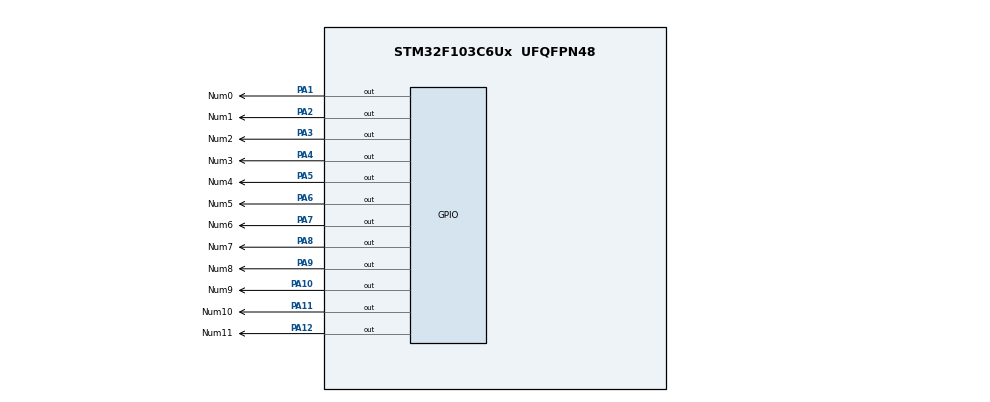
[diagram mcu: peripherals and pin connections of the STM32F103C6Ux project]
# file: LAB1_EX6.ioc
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Mcu.Family=STM32F1
Mcu.Name=STM32F103C6Ux
Mcu.Package=UFQFPN48
NVIC.PriorityGroup=NVIC_PRIORITYGROUP_4
PA1.GPIO_Label=Num0
PA1.Signal=GPIO_Output
PA10.GPIO_Label=Num9
PA10.Signal=GPIO_Output
PA11.GPIO_Label=Num10
PA11.Signal=GPIO_Output
PA12.GPIO_Label=Num11
PA12.Signal=GPIO_Output
PA2.GPIO_Label=Num1
PA2.Signal=GPIO_Output
PA3.GPIO_Label=Num2
PA3.Signal=GPIO_Output
PA4.GPIO_Label=Num3
PA4.Signal=GPIO_Output
PA5.GPIO_Label=Num4
PA5.Signal=GPIO_Output
PA6.GPIO_Label=Num5
PA6.Signal=GPIO_Output
PA7.GPIO_Label=Num6
PA7.Signal=GPIO_Output
PA8.GPIO_Label=Num7
PA8.Signal=GPIO_Output
PA9.GPIO_Label=Num8
PA9.Signal=GPIO_Output
ProjectManager.HeapSize=0x200
ProjectManager.StackSize=0x400
ProjectManager.TargetToolchain=STM32CubeIDE
RCC.APB1Freq_Value=8000000
RCC.APB2Freq_Value=8000000
VP_SYS_VS_ND.Mode=No_Debug
board=custom

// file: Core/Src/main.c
/* USER CODE BEGIN Header */
/**
  ******************************************************************************
  * @file           : main.c
  * @brief          : Main program body
  ******************************************************************************
  * @attention
  *
  * <h2><center>&copy; Copyright (c) 2025 STMicroelectronics.
  * All rights reserved.</center></h2>
  *
  * This software component is licensed by ST under BSD 3-Clause license,
  * the "License"; You may not use this file except in compliance with the
  * License. You may obtain a copy of the License at:
  *                        opensource.org/licenses/BSD-3-Clause
  *
  ******************************************************************************
  */
/* USER CODE END Header */
#include "main.h"

void SystemClock_Config(void);
static void MX_GPIO_Init(void);

/* USER CODE BEGIN 0 */
void display(int num) {
    switch (num) {
        case 0:  HAL_GPIO_WritePin(Num0_GPIO_Port, Num0_Pin, GPIO_PIN_SET); break;
        case 1:  HAL_GPIO_WritePin(Num1_GPIO_Port, Num1_Pin, GPIO_PIN_SET); break;
        case 2:  HAL_GPIO_WritePin(Num2_GPIO_Port, Num2_Pin, GPIO_PIN_SET); break;
        case 3:  HAL_GPIO_WritePin(Num3_GPIO_Port, Num3_Pin, GPIO_PIN_SET); break;
        case 4:  HAL_GPIO_WritePin(Num4_GPIO_Port, Num4_Pin, GPIO_PIN_SET); break;
        case 5:  HAL_GPIO_WritePin(Num5_GPIO_Port, Num5_Pin, GPIO_PIN_SET); break;
        case 6:  HAL_GPIO_WritePin(Num6_GPIO_Port, Num6_Pin, GPIO_PIN_SET); break;
        case 7:  HAL_GPIO_WritePin(Num7_GPIO_Port, Num7_Pin, GPIO_PIN_SET); break;
        case 8:  HAL_GPIO_WritePin(Num8_GPIO_Port, Num8_Pin, GPIO_PIN_SET); break;
        case 9:  HAL_GPIO_WritePin(Num9_GPIO_Port, Num9_Pin, GPIO_PIN_SET); break;
        case 10: HAL_GPIO_WritePin(Num10_GPIO_Port, Num10_Pin, GPIO_PIN_SET); break;
        case 11: HAL_GPIO_WritePin(Num11_GPIO_Port, Num11_Pin, GPIO_PIN_SET); break;
        case 12: HAL_GPIO_WritePin(Num0_GPIO_Port, Num0_Pin, GPIO_PIN_SET); break;
        default: break;
    }
}

void cleardisplay(int num) {
    switch (num) {
        case 0:  HAL_GPIO_WritePin(Num0_GPIO_Port, Num0_Pin, GPIO_PIN_RESET); break;
        case 1:  HAL_GPIO_WritePin(Num1_GPIO_Port, Num1_Pin, GPIO_PIN_RESET); break;
        case 2:  HAL_GPIO_WritePin(Num2_GPIO_Port, Num2_Pin, GPIO_PIN_RESET); break;
        case 3:  HAL_GPIO_WritePin(Num3_GPIO_Port, Num3_Pin, GPIO_PIN_RESET); break;
        case 4:  HAL_GPIO_WritePin(Num4_GPIO_Port, Num4_Pin, GPIO_PIN_RESET); break;
        case 5:  HAL_GPIO_WritePin(Num5_GPIO_Port, Num5_Pin, GPIO_PIN_RESET); break;
        case 6:  HAL_GPIO_WritePin(Num6_GPIO_Port, Num6_Pin, GPIO_PIN_RESET); break;
        case 7:  HAL_GPIO_WritePin(Num7_GPIO_Port, Num7_Pin, GPIO_PIN_RESET); break;
        case 8:  HAL_GPIO_WritePin(Num8_GPIO_Port, Num8_Pin, GPIO_PIN_RESET); break;
        case 9:  HAL_GPIO_WritePin(Num9_GPIO_Port, Num9_Pin, GPIO_PIN_RESET); break;
        case 10: HAL_GPIO_WritePin(Num10_GPIO_Port, Num10_Pin, GPIO_PIN_RESET); break;
        case 11: HAL_GPIO_WritePin(Num11_GPIO_Port, Num11_Pin, GPIO_PIN_RESET); break;
        case 12: HAL_GPIO_WritePin(Num0_GPIO_Port, Num0_Pin, GPIO_PIN_RESET); break;
        default: break;
    }
}

void displayall(void) {
    HAL_GPIO_WritePin(Num0_GPIO_Port, Num0_Pin, GPIO_PIN_SET);
    HAL_GPIO_WritePin(Num1_GPIO_Port, Num1_Pin, GPIO_PIN_SET);
    HAL_GPIO_WritePin(Num2_GPIO_Port, Num2_Pin, GPIO_PIN_SET);
    HAL_GPIO_WritePin(Num3_GPIO_Port, Num3_Pin, GPIO_PIN_SET);
    HAL_GPIO_WritePin(Num4_GPIO_Port, Num4_Pin, GPIO_PIN_SET);
    HAL_GPIO_WritePin(Num5_GPIO_Port, Num5_Pin, GPIO_PIN_SET);
    HAL_GPIO_WritePin(Num6_GPIO_Port, Num6_Pin, GPIO_PIN_SET);
    HAL_GPIO_WritePin(Num7_GPIO_Port, Num7_Pin, GPIO_PIN_SET);
    HAL_GPIO_WritePin(Num8_GPIO_Port, Num8_Pin, GPIO_PIN_SET);
    HAL_GPIO_WritePin(Num9_GPIO_Port, Num9_Pin, GPIO_PIN_SET);
    HAL_GPIO_WritePin(Num10_GPIO_Port, Num10_Pin, GPIO_PIN_SET);
    HAL_GPIO_WritePin(Num11_GPIO_Port, Num11_Pin, GPIO_PIN_SET);
}

void clearallClock(void) {
    HAL_GPIO_WritePin(Num0_GPIO_Port, Num0_Pin, GPIO_PIN_RESET);
    HAL_GPIO_WritePin(Num1_GPIO_Port, Num1_Pin, GPIO_PIN_RESET);
    HAL_GPIO_WritePin(Num2_GPIO_Port, Num2_Pin, GPIO_PIN_RESET);
    HAL_GPIO_WritePin(Num3_GPIO_Port, Num3_Pin, GPIO_PIN_RESET);
    HAL_GPIO_WritePin(Num4_GPIO_Port, Num4_Pin, GPIO_PIN_RESET);
    HAL_GPIO_WritePin(Num5_GPIO_Port, Num5_Pin, GPIO_PIN_RESET);
    HAL_GPIO_WritePin(Num6_GPIO_Port, Num6_Pin, GPIO_PIN_RESET);
    HAL_GPIO_WritePin(Num7_GPIO_Port, Num7_Pin, GPIO_PIN_RESET);
    HAL_GPIO_WritePin(Num8_GPIO_Port, Num8_Pin, GPIO_PIN_RESET);
    HAL_GPIO_WritePin(Num9_GPIO_Port, Num9_Pin, GPIO_PIN_RESET);
    HAL_GPIO_WritePin(Num10_GPIO_Port, Num10_Pin, GPIO_PIN_RESET);
    HAL_GPIO_WritePin(Num11_GPIO_Port, Num11_Pin, GPIO_PIN_RESET);
}

void setNumberOnClock(int num){
	display(num);
}

void clearNumberOnClock(int num)
{
	cleardisplay(num);
}

void displayHour(int hour) {

    display(hour % 12);
}

void displayMinute(int minute) {

    display((minute / 5) % 12);
}

void displaySecond(int second) {

    display((second / 5) % 12);
}

/* USER CODE END 0 */

int main(void)
{

  /* MCU Configuration--------------------------------------------------------*/

  /* Reset of all peripherals, Initializes the Flash interface and the Systick. */
  HAL_Init();

  /* Configure the system clock */
  SystemClock_Config();

  /* Initialize all configured peripherals */
  MX_GPIO_Init();

  /* Infinite loop */
  /* USER CODE BEGIN WHILE */
    int hour = 0;
    int minute = 0;
    int second = 0;
    while (1)
    {
    	clearallClock();
        displayHour(hour);
        displayMinute(minute);
        displaySecond(second);

        HAL_Delay(5);

        second++;
        if (second >= 60) {
            second = 0;
            minute++;
            if (minute >= 60) {
                minute = 0;
                hour++;
                if (hour >= 24) hour = 0;
            }
        }
    }
    /* USER CODE END WHILE */

  }

void SystemClock_Config(void)
{
  RCC_OscInitTypeDef RCC_OscInitStruct = {0};
  RCC_ClkInitTypeDef RCC_ClkInitStruct = {0};

  /** Initializes the RCC Oscillators according to the specified parameters
  * in the RCC_OscInitTypeDef structure.
  */
  RCC_OscInitStruct.OscillatorType = RCC_OSCILLATORTYPE_HSI;
  RCC_OscInitStruct.HSIState = RCC_HSI_ON;
  RCC_OscInitStruct.HSICalibrationValue = RCC_HSICALIBRATION_DEFAULT;
  RCC_OscInitStruct.PLL.PLLState = RCC_PLL_NONE;
  if (HAL_RCC_OscConfig(&RCC_OscInitStruct) != HAL_OK)
  {
    Error_Handler();
  }
  /** Initializes the CPU, AHB and APB buses clocks
  */
  RCC_ClkInitStruct.ClockType = RCC_CLOCKTYPE_HCLK|RCC_CLOCKTYPE_SYSCLK
                              |RCC_CLOCKTYPE_PCLK1|RCC_CLOCKTYPE_PCLK2;
  RCC_ClkInitStruct.SYSCLKSource = RCC_SYSCLKSOURCE_HSI;
  RCC_ClkInitStruct.AHBCLKDivider = RCC_SYSCLK_DIV1;
  RCC_ClkInitStruct.APB1CLKDivider = RCC_HCLK_DIV1;
  RCC_ClkInitStruct.APB2CLKDivider = RCC_HCLK_DIV1;

  if (HAL_RCC_ClockConfig(&RCC_ClkInitStruct, FLASH_LATENCY_0) != HAL_OK)
  {
    Error_Handler();
  }
}

static void MX_GPIO_Init(void)
{
  GPIO_InitTypeDef GPIO_InitStruct = {0};

  /* GPIO Ports Clock Enable */
  __HAL_RCC_GPIOA_CLK_ENABLE();

  /*Configure GPIO pin Output Level */
  HAL_GPIO_WritePin(GPIOA, Num0_Pin|Num1_Pin|Num2_Pin|Num3_Pin
                          |Num4_Pin|Num5_Pin|Num6_Pin|Num7_Pin
                          |Num8_Pin|Num9_Pin|Num10_Pin|Num11_Pin, GPIO_PIN_RESET);

  /*Configure GPIO pins : Num0_Pin Num1_Pin Num2_Pin Num3_Pin
                           Num4_Pin Num5_Pin Num6_Pin Num7_Pin
                           Num8_Pin Num9_Pin Num10_Pin Num11_Pin */
  GPIO_InitStruct.Pin = Num0_Pin|Num1_Pin|Num2_Pin|Num3_Pin
                          |Num4_Pin|Num5_Pin|Num6_Pin|Num7_Pin
                          |Num8_Pin|Num9_Pin|Num10_Pin|Num11_Pin;
  GPIO_InitStruct.Mode = GPIO_MODE_OUTPUT_PP;
  GPIO_InitStruct.Pull = GPIO_NOPULL;
  GPIO_InitStruct.Speed = GPIO_SPEED_FREQ_LOW;
  HAL_GPIO_Init(GPIOA, &GPIO_InitStruct);

}

void Error_Handler(void)
{
  __disable_irq();
  while (1)
  {
  }
}

/************************ (C) COPYRIGHT STMicroelectronics *****END OF FILE****/
